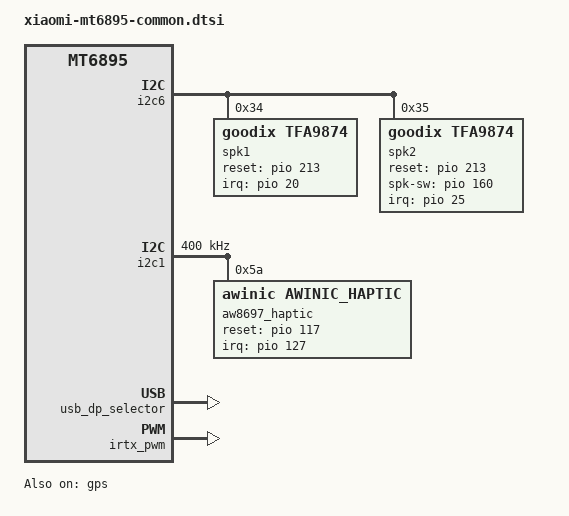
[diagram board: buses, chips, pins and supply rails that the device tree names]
// SPDX-License-Identifier: (GPL-2.0 OR MIT)
/*
 * Copyright (C) 2020 MediaTek Inc.
 * Author: Chun-Hung Wu <chun-hung.wu@mediatek.com>
 */
/dts-v1/;
/plugin/;
#include <dt-bindings/interrupt-controller/arm-gic.h>
#include <dt-bindings/interrupt-controller/irq.h>
#include <dt-bindings/phy/phy.h>
#include <dt-bindings/pinctrl/mt6895-pinfunc.h>

&chosen {
	bootargs_ext = "console=tty0 root=/dev/ram \
androidboot.hardware=mt6895";
};

&mtk_gauge {
	DISABLE_MTKBATTERY = <(1)>;
};

&odm {
	vibrator0:vibrator@0 {
		compatible = "mediatek,vibrator";
		vib_timer = <25>;
		vib_limit = <9>;
		vib_vol= <9>;
	};
};

&odm {
	xiaomi_touch: xiaomi_touch {
		compatible = "xiaomi-touch";
		status = "ok";
		touch,name = "xiaomi-touch";
	};
};

&utos {
	microtrust,real-drv = <1>;
};

/* AUDIO GPIO standardization start */
&afe {
	pinctrl-names = "aud_clk_mosi_off",
			"aud_clk_mosi_on",
			"aud_dat_mosi_off",
			"aud_dat_mosi_on",
			"aud_dat_mosi_ch34_off",
			"aud_dat_mosi_ch34_on",
			"aud_dat_miso0_off",
			"aud_dat_miso0_on",
			"aud_dat_miso1_off",
			"aud_dat_miso1_on",
			"aud_dat_miso2_off",
			"aud_dat_miso2_on",
			"vow_dat_miso_off",
			"vow_dat_miso_on",
			"vow_clk_miso_off",
			"vow_clk_miso_on",
			"aud_gpio_i2s3_off",
			"aud_gpio_i2s3_on",
			"aud_gpio_i2s0_off",
			"aud_gpio_i2s0_on";
	pinctrl-0 = <&aud_clk_mosi_off>;
	pinctrl-1 = <&aud_clk_mosi_on>;
	pinctrl-2 = <&aud_dat_mosi_off>;
	pinctrl-3 = <&aud_dat_mosi_on>;
	pinctrl-4 = <&aud_dat_mosi_ch34_off>;
	pinctrl-5 = <&aud_dat_mosi_ch34_on>;
	pinctrl-6 = <&aud_dat_miso0_off>;
	pinctrl-7 = <&aud_dat_miso0_on>;
	pinctrl-8 = <&aud_dat_miso1_off>;
	pinctrl-9 = <&aud_dat_miso1_on>;
	pinctrl-10 = <&aud_dat_miso2_off>;
	pinctrl-11 = <&aud_dat_miso2_on>;
	pinctrl-12 = <&vow_dat_miso_off>;
	pinctrl-13 = <&vow_dat_miso_on>;
	pinctrl-14 = <&vow_clk_miso_off>;
	pinctrl-15 = <&vow_clk_miso_on>;
	pinctrl-16 = <&aud_gpio_i2s3_off>;
	pinctrl-17 = <&aud_gpio_i2s3_on>;
	pinctrl-18 = <&aud_gpio_i2s0_off>;
	pinctrl-19 = <&aud_gpio_i2s0_on>;
};
&pio {
	aud_clk_mosi_off: aud_clk_mosi_off {
		pins_cmd1_dat {
			pinmux = <PINMUX_GPIO202__FUNC_GPIO202>;
			input-enable;
			bias-pull-down;
		};
		pins_cmd2_dat {
			pinmux = <PINMUX_GPIO203__FUNC_GPIO203>;
			input-enable;
			bias-pull-down;
		};
	};
	aud_clk_mosi_on: aud_clk_mosi_on {
		pins_cmd1_dat {
			pinmux = <PINMUX_GPIO202__FUNC_AUD_CLK_MOSI>;
			input-schmitt-enable;
			bias-disable;
		};
		pins_cmd2_dat {
			pinmux = <PINMUX_GPIO203__FUNC_AUD_SYNC_MOSI>;
			input-schmitt-enable;
			bias-disable;
		};
};
	aud_dat_mosi_off: aud_dat_mosi_off {
		pins_cmd1_dat {
			pinmux = <PINMUX_GPIO204__FUNC_GPIO204>;
			input-enable;
			bias-pull-down;
		};
		pins_cmd2_dat {
			pinmux = <PINMUX_GPIO205__FUNC_GPIO205>;
			input-enable;
			bias-pull-down;
		};
};
	aud_dat_mosi_on: aud_dat_mosi_on {
		pins_cmd1_dat {
			pinmux = <PINMUX_GPIO204__FUNC_AUD_DAT_MOSI0>;
			input-schmitt-enable;
			bias-disable;
		};
		pins_cmd2_dat {
			pinmux = <PINMUX_GPIO205__FUNC_AUD_DAT_MOSI1>;
			input-schmitt-enable;
			bias-disable;
		};
};
	aud_dat_mosi_ch34_off: aud_dat_mosi_ch34_off {
		pins_cmd1_dat {
			pinmux = <PINMUX_GPIO206__FUNC_GPIO206>;
			input-enable;
			bias-pull-down;
		};
	};
	aud_dat_mosi_ch34_on: aud_dat_mosi_ch34_on {
		pins_cmd1_dat {
			pinmux = <PINMUX_GPIO206__FUNC_AUD_DAT_MOSI2>;
			input-schmitt-enable;
			bias-disable;
		};
	};
	aud_dat_miso0_off: aud_dat_miso0_off {
		pins_cmd1_dat {
			pinmux = <PINMUX_GPIO209__FUNC_GPIO209>;
			input-enable;
			bias-pull-down;
		};
	};
	aud_dat_miso0_on: aud_dat_miso0_on {
		pins_cmd1_dat {
			pinmux = <PINMUX_GPIO209__FUNC_AUD_DAT_MISO0>;
			input-schmitt-enable;
			bias-disable;
		};
	};
	aud_dat_miso1_off: aud_dat_miso1_off {
		pins_cmd1_dat {
			pinmux = <PINMUX_GPIO210__FUNC_GPIO210>;
			input-enable;
			bias-disable;
		};
	};
	aud_dat_miso1_on: aud_dat_miso1_on {
		pins_cmd1_dat {
			pinmux = <PINMUX_GPIO210__FUNC_AUD_DAT_MISO1>;
			input-schmitt-enable;
			bias-disable;
		};
	};
	aud_dat_miso2_off: aud_dat_miso2_off {
		pins_cmd1_dat {
			pinmux = <PINMUX_GPIO211__FUNC_GPIO211>;
			input-enable;
			bias-pull-down;
		};
	};
	aud_dat_miso2_on: aud_dat_miso2_on {
		pins_cmd1_dat {
			pinmux = <PINMUX_GPIO211__FUNC_AUD_DAT_MISO2>;
			input-schmitt-enable;
			bias-disable;
		};
	};
	vow_dat_miso_off: vow_dat_miso_off {
		pins_cmd1_dat {
			pinmux = <PINMUX_GPIO209__FUNC_GPIO209>;
			input-enable;
			bias-pull-down;
		};
	};
	vow_dat_miso_on: vow_dat_miso_on {
		pins_cmd1_dat {
			pinmux = <PINMUX_GPIO209__FUNC_VOW_DAT_MISO>;
			input-schmitt-enable;
			bias-disable;
		};
	};
	vow_clk_miso_off: vow_clk_miso_off {
		pins_cmd1_dat {
			pinmux = <PINMUX_GPIO210__FUNC_GPIO210>;
			input-enable;
			bias-pull-down;
		};
	};
	vow_clk_miso_on: vow_clk_miso_on {
		pins_cmd1_dat {
			pinmux = <PINMUX_GPIO210__FUNC_VOW_CLK_MISO>;
			input-schmitt-enable;
			bias-disable;
		};
	};
	aud_nle_mosi_off: aud_nle_mosi_off {
		pins_cmd1_dat {
			pinmux = <PINMUX_GPIO207__FUNC_GPIO207>;
			input-enable;
			bias-pull-down;
		};
		pins_cmd2_dat {
			pinmux = <PINMUX_GPIO208__FUNC_GPIO208>;
			input-enable;
			bias-pull-down;
		};
	};
	aud_nle_mosi_on: aud_nle_mosi_on {
		pins_cmd1_dat {
			pinmux = <PINMUX_GPIO207__FUNC_AUD_NLE_MOSI1>;
			input-schmitt-enable;
			bias-disable;
		};
		pins_cmd2_dat {
			pinmux = <PINMUX_GPIO208__FUNC_AUD_NLE_MOSI0>;
			input-schmitt-enable;
			bias-disable;
		};
	};
	aud_gpio_i2s0_off: aud_gpio_i2s0_off {
		pins_cmd1_dat {
			pinmux = <PINMUX_GPIO23__FUNC_GPIO23>;
			input-enable;
			bias-pull-down;
		};
	};
	aud_gpio_i2s0_on: aud_gpio_i2s0_on {
		pins_cmd1_dat {
			pinmux = <PINMUX_GPIO23__FUNC_I2S0_DI>;
			input-schmitt-enable;
			bias-disable;
		};
	};
	aud_gpio_i2s3_off: aud_gpio_i2s3_off {
		pins_cmd1_dat {
			pinmux = <PINMUX_GPIO21__FUNC_GPIO21>;
			input-enable;
			bias-pull-down;
		};
		pins_cmd2_dat {
			pinmux = <PINMUX_GPIO22__FUNC_GPIO22>;
			input-enable;
			bias-pull-down;
		};
		pins_cmd3_dat {
			pinmux = <PINMUX_GPIO24__FUNC_GPIO24>;
			input-enable;
			bias-pull-down;
		};
	};
	aud_gpio_i2s3_on: aud_gpio_i2s3_on {
		pins_cmd1_dat {
			pinmux = <PINMUX_GPIO21__FUNC_I2S3_BCK>;
			input-schmitt-enable;
			bias-disable;
		};
		pins_cmd2_dat {
			pinmux = <PINMUX_GPIO22__FUNC_I2S3_LRCK>;
			input-schmitt-enable;
			bias-disable;
		};
		pins_cmd3_dat {
			pinmux = <PINMUX_GPIO24__FUNC_I2S3_DO>;
			input-schmitt-enable;
			bias-disable;
		};
	};
};
/* AUDIO GPIO standardization end */
/*
&i2c6 {
	spk: speaker_amp@5c {
		compatible = "richtek,rt5512";
		#sound-dai-cells = <0>;
		reg = <0x5c>;
		status = "okay";
		sound-name-prefix = "Left";
	};
};
*/

/*Audio Config tfa start  */
&i2c6 {
       spk1: speaker_amp@34 {
               compatible = "goodix,tfa9874";
               #sound-dai-cells = <0>;
               reg = <0x34>;
               reset-gpio = <&pio 213 0>;
               status = "okay";
               irq-gpio = <&pio 20 0>;
               sound-name-prefix = "Left";
       };
       spk2: speaker_amp@35 {
               compatible = "goodix,tfa9874";
               #sound-dai-cells = <0>;
               reg = <0x35>;
               status = "okay";
               reset-gpio = <&pio 213 0>;
               spk-sw-gpio = <&pio 160 0>;
               irq-gpio = <&pio 25 0>;
               sound-name-prefix = "Right";
       };
 };
/*Audio Config tfa end*/


/* GPS GPIO standardization start */
&pio {
	gps_pins_default: gps_default {
	};

	gps_l1_lna_pins_ol: gps_l1_lna@0 {
		pins_cmd_dat {
			pinmux = <PINMUX_GPIO16__FUNC_GPIO16>;
			output-low;
		};
	};
	gps_l1_lna_pins_dsp_ctrl: gps_l1_lna@1 {
		pins_cmd_dat {
			pinmux = <PINMUX_GPIO16__FUNC_GPS_L1_ELNA_EN>;
		};
	};
	gps_l1_lna_pins_oh: gps_l1_lna@2 {
		pins_cmd_dat {
			pinmux = <PINMUX_GPIO16__FUNC_GPIO16>;
			output-high;
		};
	};

	gps_l5_lna_pins_ol: gps_l5_lna@0 {
		pins_cmd_dat {
			pinmux = <PINMUX_GPIO17__FUNC_GPIO17>;
			output-low;
		};
	};
	gps_l5_lna_pins_dsp_ctrl: gps_l5_lna@1 {
		pins_cmd_dat {
			pinmux = <PINMUX_GPIO17__FUNC_GPS_L5_ELNA_EN>;
		};
	};
	gps_l5_lna_pins_oh: gps_l5_lna@2 {
		pins_cmd_dat {
			pinmux = <PINMUX_GPIO17__FUNC_GPIO17>;
			output-high;
		};
	};
};

&gps {
	pinctrl-names = "default",
		"gps_l1_lna_disable",
		"gps_l1_lna_dsp_ctrl",
		"gps_l1_lna_enable",
		"gps_l5_lna_disable",
		"gps_l5_lna_dsp_ctrl",
		"gps_l5_lna_enable";
	pinctrl-0 = <&gps_pins_default>;
	pinctrl-1 = <&gps_l1_lna_pins_ol>;
	pinctrl-2 = <&gps_l1_lna_pins_dsp_ctrl>;
	pinctrl-3 = <&gps_l1_lna_pins_oh>;
	pinctrl-4 = <&gps_l5_lna_pins_ol>;
	pinctrl-5 = <&gps_l5_lna_pins_dsp_ctrl>;
	pinctrl-6 = <&gps_l5_lna_pins_oh>;
	status = "okay";
};
/* GPS GPIO standardization end */

/* ConnFem start */
&connfem {
#if 0 /* Enable epa_elna node to support Wifi & BT ePA/eLNA FEM on customer load */
        epa_elna {
                parts = <&wlan7207h &wlan7207c>;

                wifi {
                        flags-0 {
                                open-loop;
                        };
                };

                bt {
                        flags-0 {
                                /* choose one of: epa_elna / epa / elna / bypass */
                                epa_elna;
                        };
                };
        };
#endif

        epa_elna_mtk {
                parts = <&nofem &nofem>,                /* [0]iPA/iLNA */
                        <&wlan7207h &wlan7207c>,        /* [1]7207C: Wifi Open, BT bypass */
                        <&wlan7207h &wlan7207c>,        /* [2]7207C: Wifi Open, BT ePA/eLNA */
                        <&wlan7207h &wlan7207c>,        /* [3]7207C: Wifi Closed, BT bypass */
                        <&wlan7207h &wlan7207c>,        /* [4]7207C: Wifi Closed, BT ePA/eLNA */
                        <&wlan7207h &wlan7205c>,        /* [5]7205C: Wifi Open, BT bypass */
                        <&wlan7207h &wlan7205c>,        /* [6]7205C: Wifi Open, BT ePA/eLNA */
                        <&wlan7207h &wlan7205c>,        /* [7]7205C: Wifi Closed, BT bypass */
                        <&wlan7207h &wlan7205c>,        /* [8]7205C: Wifi Closed, BT ePA/eLNA */
                        <&qm42195 &qm45197>,            /* [9]QM: Wifi Open, BT bypass */
                        <&qm42195 &qm45197>,            /* [10]QM: Wifi Open, BT ePA/eLNA */
                        <&qm42195 &qm45197>,            /* [11]QM: Wifi Closed, BT bypass */
                        <&qm42195 &qm45197>;            /* [12]QM: Wifi Closed, BT ePA/eLNA */

                wifi {
                        flags-1 {
                                open-loop;
                        };
                        flags-2 {
                                open-loop;
                        };
                        flags-5 {
                                open-loop;
                        };
                        flags-6 {
                                open-loop;
                        };
                        flags-9 {
                                open-loop;
                        };
                        flags-10 {
                                open-loop;
                        };
                };

                bt {
                        /* choose one of: epa_elna / epa / elna / bypass */
                        flags-1 {
                                bypass;
                        };
                        flags-2 {
                                epa_elna;
                        };
                        flags-3 {
                                bypass;
                        };
                        flags-4 {
                                epa_elna;
                        };
                        flags-5 {
                                bypass;
                        };
                        flags-6 {
                                epa_elna;
                        };
                        flags-7 {
                                bypass;
                        };
                        flags-8 {
                                epa_elna;
                        };
                        flags-9 {
                                bypass;
                        };
                        flags-10 {
                                epa_elna;
                        };
                        flags-11 {
                                bypass;
                        };
                        flags-12 {
                                epa_elna;
                        };
                };
        };
};
/* ConnFem end */


&sound {
	mediatek,spk-i2s = <3 9>;
	mediatek,speaker-codec {
		sound-dai = <&spk1>, <&spk2>;
	};
};

/* AW8697 Haptic start */
&pio {
	awinic_reset_low: awinic_reset_reset {
		pins_cmd_dat {
			pinmux = <PINMUX_GPIO117__FUNC_GPIO117>;
			drive-strength = <2>;
			bias-disable;
			output-low;
		};
	};
	awinic_reset_high: awinic_reset_active {
		pins_cmd_dat {
			pinmux = <PINMUX_GPIO117__FUNC_GPIO117>;
			drive-strength = <2>;
			bias-disable;
			output-high;
		};
	};
	awinic_interrupt: awinic_interrupt_active {
		pins_cmd_dat {
			pinmux = <PINMUX_GPIO127__FUNC_GPIO127>;
			drive-strength = <2>;
			bias-pull-up;
			input-enable;
		};
	};
};

&i2c1 {
        clock-frequency = <400000>;
	status = "ok";
		aw8697_haptic: aw8697_haptic@5a {
		compatible = "awinic,awinic_haptic";
		reg = <0x5A>;
		reset-gpio = <&pio 117 0>;
		irq-gpio = <&pio 127 0>;
		pinctrl-names = "awinic_reset_reset","awinic_reset_active","awinic_interrupt_active";
		pinctrl-0 = <&awinic_reset_low>;
		pinctrl-1 = <&awinic_reset_high>;
		pinctrl-2 = <&awinic_interrupt>;
		/*----------------------aw8697----------------------*/
		aw8697_vib_mode = < 0 >; /*mode:   RAM mode->0; CONT mode -> 1*/
		aw8697_vib_f0_pre = < 1700 >;
		aw8697_vib_f0_cali_percen = < 7 >;
		aw8697_vib_cont_drv_lev = < 60 >;
		aw8697_vib_cont_drv_lvl_ov = < 60 >;
		aw8697_vib_cont_td = < 0xef >;
		aw8697_vib_cont_zc_thr = < 0x08f8 >;  /*hq 0x08F8 */
		aw8697_vib_cont_num_brk = < 3 >;
		aw8697_vib_f0_coeff = < 260 >; /*Don't modify it 2.604167*/
		aw8697_vib_f0_trace_parameter = < 9 3 1 31 >;
		aw8697_vib_bemf_config = < 0 0x08 0x03 0xf8 >;
		aw8697_vib_sw_brake = < 0x2c >;
		aw8697_vib_tset = < 0x1a >;
		aw8697_vib_r_spare = < 0x68 >;
		aw8697_vib_bstdbg = < 0x30 0xeb 0xd4 0 0 0 >;
		aw8697_vib_trig_config = < 0 1 0 1 2
					   0 1 0 1 2
					   0 1 0 1 2 >;
		aw8697_vib_bst_vol_default = < 0x0e >;
		aw8697_vib_bst_vol_ram = < 0x0e >;
		aw8697_vib_bst_vol_rtp = < 0x0e >;
		/*----------------------aw8692x----------------------*/
		aw86927_vib_mode = < 0 >; /* mode: RAM mode->0; CONT mode->1 */
		aw86927_vib_f0_pre = < 1700 >;
		aw86927_vib_f0_cali_percen = < 7 >;
		aw86927_vib_cont_drv1_lvl = < 0x7F >;
		aw86927_vib_cont_drv2_lvl = < 0x36 >;
		aw86927_vib_cont_drv1_time = < 0x04 >;
		aw86927_vib_cont_drv2_time = < 0x06 >;
		aw86927_vib_cont_drv_width = < 0x6A >;
		aw86927_vib_cont_wait_num = < 0x06 >;
		aw86927_vib_cont_brk_time = < 0x08 >;
		aw86927_vib_cont_track_margin = < 0x0C >;
		aw86927_vib_brk_bst_md = < 0 >;
		aw86927_vib_cont_tset = < 0x06 >;
		aw86927_vib_cont_bemf_set = < 0x02 >;
		aw86927_vib_cont_bst_brk_gain = < 0x05 >;
		aw86927_vib_cont_brk_gain = < 0x08 >;
		aw86927_vib_d2s_gain = < 0x04 >;
		aw86927_vib_trig_config = < 1 0 1 1 1 2 0 0
					    1 0 0 1 0 2 0 0
					    1 0 0 1 0 2 0 0 >;
		aw86927_vib_bst_vol_default = < 0x45 >;
		aw86927_vib_bst_vol_ram = < 0x45 >;
		aw86927_vib_bst_vol_rtp = < 0x45 >;
		/*--------------------common--------------------*/
		vib_effect_id_boundary = < 10 >;
		vib_effect_max = < 197 >; /*vib_effect_max must bigger than vib_effect_id*/
		vib_rtp_time = < 20 20 20 20 20 20 20 20 20000 15000
				15000 20000 25000 15000 30000 25000 20000 20000 20000 20000
				20000 20000 20000 20000 20000 20000 20000 20000 20000 20000
				20000 20000 20000 20000 20000 20000 20000 20000 20000 20000
				20000 20000 20000 20000 20000 20000 20000 20000 20000 20000
				20000 20000 20000 20000 20000 20000 20000 20000 20000 20000
				20000 20000 20000 20000 20000 20000 20000 20000 20000 20000
				20000 20000 20000 20000 20000 20000 20000 20000 20000 20000
				20000 20000 20000 20000 20000 20000 20000 20000 20000 20000
				20000 20000 20000 20000 20000 20000 20000 20000 20000 20000
				20000 20000 20000 20000 20000 20000 20000 20000 20000 20000
				20000 20000 20000 20000 20000 20000 20000 20000 20000 20000
				20000 20000 20000 20000 20000 20000 20000 20000 20000 20000
				20000 20000 20000 20000 20000 20000 20000 20000 20000 20000
				20000 20000 20000 20000 20000 20000 20000 20000 20000 20000
				20000 20000 20000 20000 20000 20000 20000 20000 20000 20000
				20000 20000 20000 20000 20000 20000 20000 20000 20000 20000
				20000 20000 20000 20000 20000 >;
		status = "ok";
		wf_0 {
			/*CLICK*/
			mtk,effect-id = <0>;
			mtk,wf-vmax-mv = <3600>;
			mtk,wf-pattern = [3e 3e];
			mtk,wf-brake-pattern = [02 01 00 00];
			mtk,wf-play-rate-us = <20000>;
		};
		wf_1 {
			/*DOUBLE CLICK*/
			mtk,effect-id = <1>;
			mtk,wf-vmax-mv = <3600>;
			mtk,wf-pattern = [7e 3e];
			mtk,wf-brake-pattern = [03 01 00 00];
			mtk,wf-play-rate-us = <20000>;
		};
		wf_2 {
			/*TICK*/
			mtk,effect-id = <2>;
			mtk,wf-vmax-mv = <3600>;
			mtk,wf-pattern = [7e 3e];
			mtk,wf-brake-pattern = [02 01 00 00];
			mtk,wf-play-rate-us = <20000>;
		};
		wf_3 {
			/*THUD*/
			mtk,effect-id = <3>;
			mtk,wf-vmax-mv = <3600>;
			mtk,wf-pattern = [3e 3e];
			mtk,wf-brake-pattern = [02 01 00 00];
			mtk,wf-play-rate-us = <20000>;
		};
		wf_4 {
			/*POP*/
			mtk,effect-id = <4>;
			mtk,wf-vmax-mv = <3600>;
			mtk,wf-pattern = [3e 3e];
			mtk,wf-brake-pattern = [02 01 00 00];
			mtk,wf-play-rate-us = <28000>;
		};
		wf_5 {
			/*HEAVY CLICK*/
			mtk,effect-id = <5>;
			mtk,wf-vmax-mv = <3600>;
			mtk,wf-pattern = [7e 7e 7e];
			mtk,wf-brake-pattern = [03 03 01 00];
			mtk,wf-play-rate-us = <20000>;
		};
		wf_6 {
			/*id 6*/
			mtk,effect-id = <6>;
			mtk,wf-vmax-mv = <3600>;
			mtk,wf-pattern = [3e 3e];
			mtk,wf-brake-pattern = [02 01 00 00];
			mtk,wf-play-rate-us = <20000>;
		};
		wf_7 {
			/*id 7*/
			mtk,effect-id = <7>;
			mtk,wf-vmax-mv = <3600>;
			mtk,wf-pattern = [3e 3e];
			mtk,wf-brake-pattern = [02 01 00 00];
			mtk,wf-play-rate-us = <20000>;
		};
		wf_8 {
			/*id 8*/
			mtk,effect-id = <8>;
			mtk,wf-vmax-mv = <3600>;
			mtk,wf-pattern = [3e 3e];
			mtk,wf-brake-pattern = [02 01 00 00];
			mtk,wf-play-rate-us = <20000>;
		};
		wf_9 {
			/*id 9*/
			mtk,effect-id = <9>;
			mtk,wf-vmax-mv = <3600>;
			mtk,wf-pattern = [3e 3e];
			mtk,wf-brake-pattern = [02 01 00 00];
			mtk,wf-play-rate-us = <20000>;
		};
	};
};
/* AW8697 Haptic end */


/* usb typec mux start */
&mt6375_typec {
	port {
		tcpc_typec_usb: endpoint@0 {
			remote-endpoint = <&ssusb_mux>;
		};
	};
};

&typec_mux_switch {
	orientation-switch;
	mode-switch;
	accessory;
	port {
		ssusb_mux: endpoint@0 {
			remote-endpoint = <&tcpc_typec_usb>;
		};
	};
};


&usb_dp_selector {
	status = "okay";
};
/* usb typec mux end */

&pdc {
	pd_vbus_upper_bound = <12000000>;
};


&thermal_zones {
		quiet_therm: quiet_therm {
			polling-delay = <0>; /* milliseconds */
			polling-delay-passive = <0>; /* milliseconds */
			thermal-sensors = <&tboard_thermistor4>;
		};
		wifi_therm: wifi_therm {
			polling-delay = <0>; /* milliseconds */
			polling-delay-passive = <0>; /* milliseconds */
			thermal-sensors = <&tboard_thermistor5>;
		};	
		charger_therm: charger_therm {
			polling-delay = <0>; /* milliseconds */
			polling-delay-passive = <0>; /* milliseconds */
			thermal-sensors = <&tboard_thermistor6>;
		};
		flash_therm: flash_therm {
			polling-delay = <0>; /* milliseconds */
			polling-delay-passive = <0>; /* milliseconds */
			thermal-sensors = <&tboard_thermistor7>;
		};		
};

&odm {
	thermal_message: thermal-message {
		board-sensor = "VIRTUAL-SENSOR";
	};
};

/* IRTX GPIO Start */
&irtx_pwm {
	pwm_ch = <1>;
	pinctrl-names = "irtx_gpio_led_default", "irtx_gpio_led_set";
	pinctrl-0 = <&irtx_gpio_led_default>;
	pinctrl-1 = <&irtx_gpio_led_set>;
	status = "okay";
};
&pio {
	/* IRTX GPIO Settings -Start */
	/* default: GPIO0, output, high */
	irtx_gpio_led_default:irtx_gpio_led_def@gpio120 {
		pins_cmd_dat {
			pinmux = <PINMUX_GPIO120__FUNC_GPIO120>;
			slew-rate = <1>;
			bias-disable;
			output-low;
			input-schmitt-enable = <0>;
		};
	};
	irtx_gpio_led_set:irtx_gpio_led_set@gpio120 {
		pins_cmd_dat {
			pinmux = <PINMUX_GPIO120__FUNC_PWM_1>;
			slew-rate = <1>;
			output-high;
		};
	};
}; /* IRTX GPIO Settings -End */

&mmlsys_config {
	racing-enable;
};

#include "mediatek/cust_mt6895_nfc_nxp.dtsi"
#include "mediatek/cust_mt6895_fingerprint.dtsi"
/*End of this file, DO NOT ADD ANYTHING HERE*/
